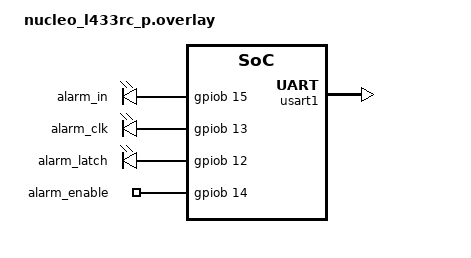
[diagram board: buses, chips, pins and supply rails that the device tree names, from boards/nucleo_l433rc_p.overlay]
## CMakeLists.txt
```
# SPDX-License-Identifier: Apache-2.0

cmake_minimum_required(VERSION 3.20.0)
set(BOARD nucleo_l432kc)
set(CONF_FILE prj.conf)

find_package(Zephyr REQUIRED HINTS $ENV{ZEPHYR_BASE})
project(loggy)

target_sources(app PRIVATE src/main.c)
```

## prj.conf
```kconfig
CONFIG_PRINTK=y

CONFIG_CBPRINTF_FP_SUPPORT=y
CONFIG_NEWLIB_LIBC=y
CONFIG_NEWLIB_LIBC_FLOAT_PRINTF=y
CONFIG_GPIO=y
```

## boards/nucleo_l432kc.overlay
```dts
/ {
    alarmgpio: alarmgpio {
        compatible = "gpio-leds";
        alarm_in: alarm_in {
            gpios = <&gpiob 5 GPIO_ACTIVE_HIGH>;
        };
        alarm_clk: alarm_clk {
            gpios = <&gpioa 11 GPIO_ACTIVE_HIGH>;
        };
    };
};
```

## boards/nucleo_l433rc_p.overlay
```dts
/ {
	chosen {
		zephyr,console = &usart1;
	};
    alarmgpio: alarmgpio {
        compatible = "gpio-leds";
        alarm_in: alarm_in {
            gpios = <&gpiob 15 GPIO_ACTIVE_HIGH>;
        };
        alarm_clk: alarm_clk {
            gpios = <&gpiob 13 GPIO_ACTIVE_HIGH>;
        };
        alarm_latch: alarm_latch {
            gpios = <&gpiob 12 GPIO_ACTIVE_HIGH>;
        };
        alarm_enable: alarm_enable {
            gpios = <&gpiob 14 GPIO_ACTIVE_HIGH>;
        };
    };
};

&usart1 {
	status = "okay";
};
```

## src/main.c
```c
#include <zephyr/kernel.h>
#include <zephyr/device.h>
#include <zephyr/devicetree.h>
#include <stdio.h>
#include <stdlib.h>
#include <string.h>
#include <stddef.h>
#include <stdint.h>
#include <zephyr/sys/printk.h>
#include <zephyr/sys/util.h>
#include <zephyr/drivers/gpio.h>

static const struct gpio_dt_spec alarm_in = GPIO_DT_SPEC_GET(DT_NODELABEL(alarm_in), gpios);
static const struct gpio_dt_spec alarm_clk = GPIO_DT_SPEC_GET(DT_NODELABEL(alarm_clk), gpios);
static const struct gpio_dt_spec alarm_latch = GPIO_DT_SPEC_GET(DT_NODELABEL(alarm_latch), gpios);
static const struct gpio_dt_spec alarm_enable = GPIO_DT_SPEC_GET(DT_NODELABEL(alarm_enable), gpios);

void set_alarms(uint16_t bitmask) {
	for (int i = 0; i < 16; i++) {
		gpio_pin_set_dt(&alarm_clk, 0);
		k_usleep(1);
		if (bitmask & (0x0001 << i)) {
			printk("LED %d ON\r\n", i);
			gpio_pin_set_dt(&alarm_in, 1);
		} else {
			gpio_pin_set_dt(&alarm_in, 0);
		}
		k_usleep(1);
		gpio_pin_set_dt(&alarm_clk, 1);
		k_usleep(1);
		gpio_pin_set_dt(&alarm_clk, 0);
	}
	gpio_pin_set_dt(&alarm_latch, 1);
	k_usleep(1);
	gpio_pin_set_dt(&alarm_latch, 0);
}

int main() {
	gpio_pin_configure_dt(&alarm_in, GPIO_OUTPUT_INACTIVE);
	gpio_pin_configure_dt(&alarm_clk, GPIO_OUTPUT_INACTIVE);
	gpio_pin_configure_dt(&alarm_latch, GPIO_OUTPUT_INACTIVE);
	gpio_pin_configure_dt(&alarm_enable, GPIO_OUTPUT_INACTIVE);
	
	while (1) {
		for (int i = 0; i < 16; i++) {
			printk("Alarm bitmask:	%d\r\n", (0x0001 << i));
			set_alarms(0x0001 << i);
			k_msleep(500);
		}
	}
	return 0;
}
```
